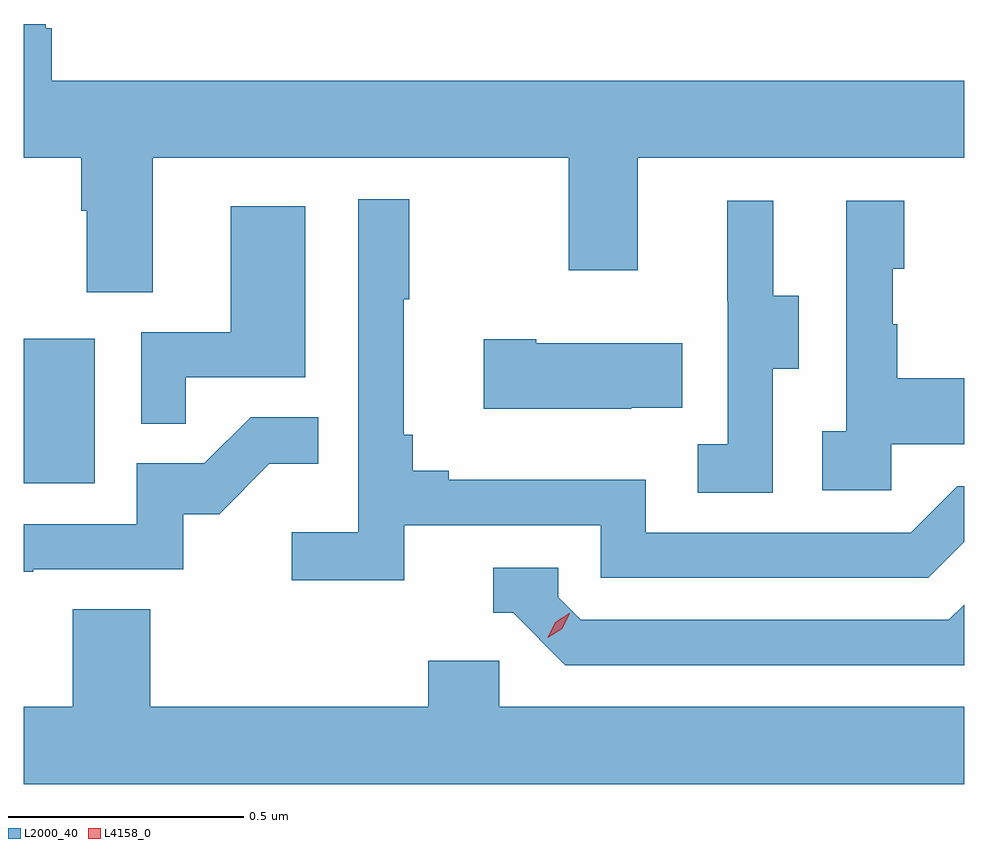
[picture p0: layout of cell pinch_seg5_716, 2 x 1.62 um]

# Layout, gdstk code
import gdstk
lib = gdstk.Library(unit=1e-6, precision=1e-09)
def R(c, l, rs):  # rectangles x0, y0, x1, y1
    for r in rs: c.add(gdstk.rectangle(r[:2], r[2:], *l))
def P(c, l, *ps):  # polygons
    for p in ps: c.add(gdstk.Polygon(p, *l))
L2000_40 = (2000, 40)
L4158_0 = (4158, 0)

pinch_seg5_716 = lib.new_cell('pinch_seg5_716')
R(pinch_seg5_716, L2000_40, [(1118.157,840.084,1118.308,840.391)])
P(pinch_seg5_716, L2000_40, [(1118.431,840.776),(1119.316,840.776),(1119.316,840.537),(1119.463,840.537),(1119.463,840.776),(1120.157,840.776),(1120.157,840.94),(1118.216,840.94),(1118.216,841.052),(1118.203,841.052),(1118.203,841.061),(1118.157,841.061),(1118.157,840.776),(1118.279,840.776),(1118.279,840.664),(1118.291,840.664),(1118.291,840.49),(1118.431,840.49)],
  [(1118.966,839.994),(1119.384,839.994),(1119.384,839.883),(1120.081,839.883),(1120.157,839.959),(1120.157,840.078),(1120.143,840.078),(1120.044,839.979),(1119.48,839.979),(1119.48,840.091),(1119.061,840.091),(1119.061,840.11),(1118.984,840.11),(1118.984,840.187),(1118.965,840.187),(1118.965,840.475),(1118.977,840.475),(1118.977,840.688),(1118.868,840.688),(1118.868,839.98),(1118.727,839.98),(1118.727,839.878),(1118.966,839.878)],
  [(1120.002,840.167),(1120.157,840.167),(1120.157,840.307),(1120.015,840.307),(1120.015,840.422),(1120.005,840.422),(1120.005,840.54),(1120.03,840.54),(1120.03,840.685),(1119.906,840.685),(1119.906,840.194),(1119.855,840.194),(1119.855,840.069),(1120.002,840.069)],
  [(1119.75,840.328),(1119.805,840.328),(1119.805,840.483),(1119.751,840.483),(1119.751,840.685),(1119.653,840.685),(1119.653,840.471),(1119.654,840.471),(1119.654,840.167),(1119.591,840.167),(1119.591,840.064),(1119.75,840.064)],
  [(1118.501,840.309),(1118.755,840.309),(1118.755,840.673),(1118.597,840.673),(1118.597,840.405),(1118.406,840.405),(1118.406,840.211),(1118.501,840.211)],
  [(1119.449,840.245),(1119.557,840.245),(1119.557,840.382),(1119.247,840.382),(1119.247,840.39),(1119.135,840.39),(1119.135,840.242),(1119.449,840.242)],
  [(1118.177,839.901),(1118.496,839.901),(1118.496,840.018),(1118.572,840.018),(1118.679,840.125),(1118.783,840.125),(1118.783,840.224),(1118.639,840.224),(1118.541,840.126),(1118.397,840.126),(1118.397,839.997),(1118.157,839.997),(1118.157,839.896),(1118.177,839.896)],
  [(1120.157,839.825),(1120.125,839.793),(1119.342,839.793),(1119.294,839.841),(1119.294,839.904),(1119.155,839.904),(1119.155,839.808),(1119.198,839.808),(1119.309,839.697),(1120.157,839.697)],
  [(1120.157,839.608),(1119.168,839.608),(1119.168,839.706),(1119.017,839.706),(1119.017,839.608),(1118.426,839.608),(1118.426,839.816),(1118.261,839.816),(1118.261,839.608),(1118.157,839.608),(1118.157,839.444),(1120.157,839.444)])
P(pinch_seg5_716, L4158_0, [(1119.271,839.755),(1119.271,839.755),(1119.287,839.788),(1119.317,839.807),(1119.318,839.807),(1119.318,839.807),(1119.302,839.774),(1119.271,839.755)])

lib.write_gds('pinch_seg5_716.gds')
